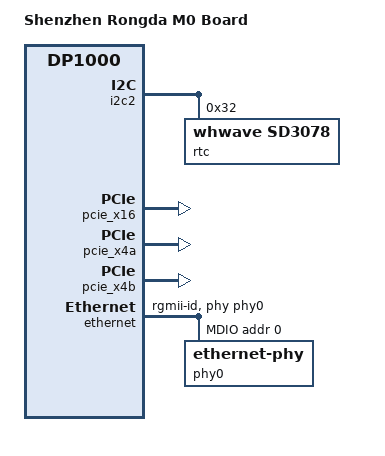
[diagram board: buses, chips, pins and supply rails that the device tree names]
// SPDX-License-Identifier: GPL-2.0
/*
 * Copyright(C) 2026 UltraRISC Technology (Shanghai) Co., Ltd.
 */

#include "dp1000-shenrongda-m0-pinctrl.dtsi"
#include <dt-bindings/gpio/gpio.h>

/ {
	model = "Shenzhen Rongda M0 Board";
	compatible = "shenrongda,m0", "ultrarisc,dp1000";

	aliases {
		serial0 = &uart0;
		serial1 = &uart1;
		serial2 = &uart2;
		serial3 = &uart3;
	};

	chosen {
		stdout-path = "serial0:115200n8";
	};
};

&i2c0 {
	pinctrl-names = "default";
	pinctrl-0 = <&i2c0_pins>;
};

&i2c1 {
	pinctrl-names = "default";
	pinctrl-0 = <&i2c1_pins>;
};

&i2c2 {
	pinctrl-names = "default";
	pinctrl-0 = <&i2c2_pins>;

	rtc@32 {
		compatible = "whwave,sd3078";
		reg = <0x32>;
	};
};

&i2c3 {
	pinctrl-names = "default";
	pinctrl-0 = <&i2c3_pins>;
};

&spi0 {
	pinctrl-names = "default";
	pinctrl-0 = <&spi0_pins>;
};

&spi1 {
	num-cs = <1>;

	pinctrl-names = "default";
	pinctrl-0 = <&spi1_pins>;
};

&uart0 {
	pinctrl-names = "default";
	pinctrl-0 = <&uart0_pins>;
};

&uart1 {
	pinctrl-names = "default";
	pinctrl-0 = <&uart1_pins>;
};

&uart2 {
	pinctrl-names = "default";
	pinctrl-0 = <&uart2_pins>;
};

&uart3 {
	pinctrl-names = "default";
	pinctrl-0 = <&uart3_pins>;
};

&pcie_x16 {
	status = "okay";
};

&pcie_x4a {
	status = "okay";
};

&pcie_x4b {
	status = "okay";
};

&ethernet {
	phy-handle = <&phy0>;
	/*
	 * The PCB does not add RGMII TX or RX clock delays. The DP1000
	 * integration adds fixed delays in both directions.
	 */
	phy-mode = "rgmii-id";

	status = "okay";

	mdio {
		compatible = "snps,dwmac-mdio";
		#address-cells = <1>;
		#size-cells = <0>;

		phy0: ethernet-phy@0 {
			reg = <0>;
		};
	};
};
